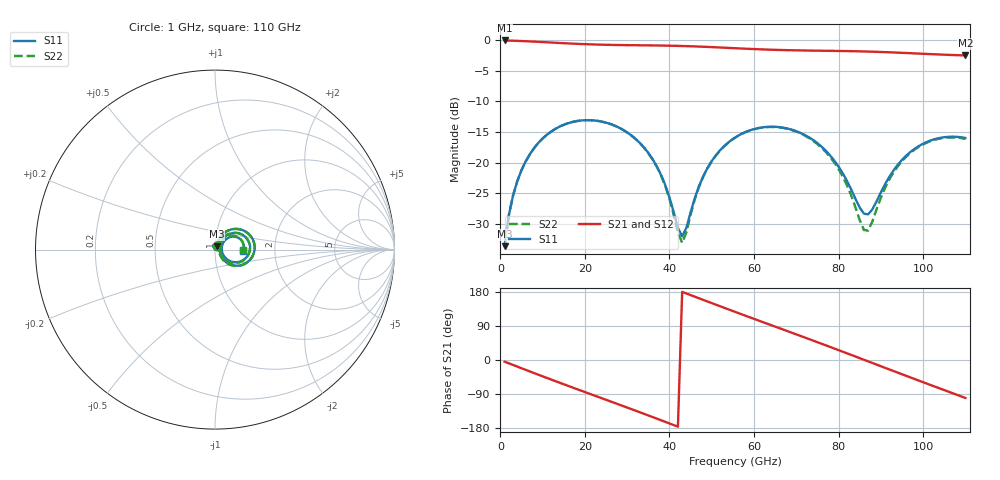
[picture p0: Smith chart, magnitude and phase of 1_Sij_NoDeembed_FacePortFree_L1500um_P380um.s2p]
! Touchstone file exported from HFSS 2024.2.0
!  File:  C:/Users/vaintrug/Documents/Ansoft_Workspace/Comparaison_Calculs_HFSS/1_VarPort.aedt
!  Generated:  03:22:18 PM Jan 21, 2025
!  Design:  1_NoDeembed_FacePortFree
!  Project:  1_VarPort
!  Setup:  Setup1
!  Solution:  Sweep
! Variables:
!  $Lenght = 1500um
!  $PortSize = 380um
!  Gap = 30um
!  Th = 2um
!  X_centralStrip = 20um
!  X_masse = 200um
!  Y_Sub = 1.5mm
!  Z_Box = 400um
!  Z_Sub = 200um
# GHz S MA R 50.000000
! Terminal data exported
! Port[1] = 1
! Port[2] = 2
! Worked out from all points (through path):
!   110 points, 1 GHz to 110 GHz, reference 50 ohm
!   highest |S21| = -0.10 dB at 1 GHz (marker M1); lowest = -2.5 dB at 110 GHz (marker M2)
!   group delay of S21, straight-line fit = 11.6 ps
!   lowest |S11| = -33.6 dB at 1 GHz (marker M3), VSWR 1.04, Z = 50.9 + j1.88 ohm
!   |S11| at or under -10 dB: start of sweep to end of sweep
!   |S22| runs from -33.6 to -13.1 dB; largest |S21 - S12| = 2.5e-15
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1  0.0208 62.7  0.9891 -4.4  0.9891 -4.4  0.0208 62.7
! Gamma 5.93621593033373 49.983116828556 6.00137145909168 50.0067151179889
! Port Impedance 50 0 50 0
2  0.03717 69.6  0.9866 -8.8  0.9866 -8.8  0.03718 69.6
3  0.0539 70.0  0.9841 -13.1  0.9841 -13.1  0.0539 70.0
7  0.1173 58.5  0.9714 -30.3  0.9714 -30.3  0.1173 58.4
14  0.1962 31.5  0.9434 -59.9  0.9434 -59.9  0.1962 31.3
20  0.2213 8.3  0.9228 -84.6  0.9228 -84.6  0.2212 7.9
29  0.185 -24.9  0.9067 -121.4  0.9067 -121.4  0.1847 -25.6
34  0.1323 -41.3  0.9026 -142.2  0.9026 -142.2  0.1317 -42.5
38  0.07936 -49.6  0.899 -159.0  0.899 -159.0  0.0784 -51.7
43  0.02504 2.3  0.8912 179.8  0.8912 179.8  0.02216 2.5
47  0.06447 53.5  0.8817 162.8  0.8817 162.8  0.06352 55.5
49  0.09039 52.4  0.8759 154.3  0.8759 154.3  0.08972 53.8
56  0.1638 33.1  0.8534 125.1  0.8534 125.1  0.1632 33.3
65  0.1956 2.6  0.8293 88.1  0.8293 88.1  0.1945 1.8
74  0.1525 -26.2  0.8173 51.1  0.8173 51.1  0.1502 -28.6
80  0.09257 -38.8  0.8122 26.0  0.8122 26.0  0.08843 -43.7
86  0.03828 -7.2  0.8045 0.6  0.8045 0.6  0.02816 -9.3
87  0.03779 8.7  0.8028 -3.6  0.8028 -3.6  0.0279 13.8
92  0.07641 43.0  0.7919 -24.9  0.7919 -24.9  0.07282 50.4
96  0.1138 38.5  0.7814 -41.8  0.7814 -41.8  0.1117 43.3
101  0.1477 25.4  0.7675 -62.8  0.7675 -62.8  0.146 28.4
110  0.1586 -2.4  0.7463 -100.2  0.7463 -100.2  0.156 -1.5
